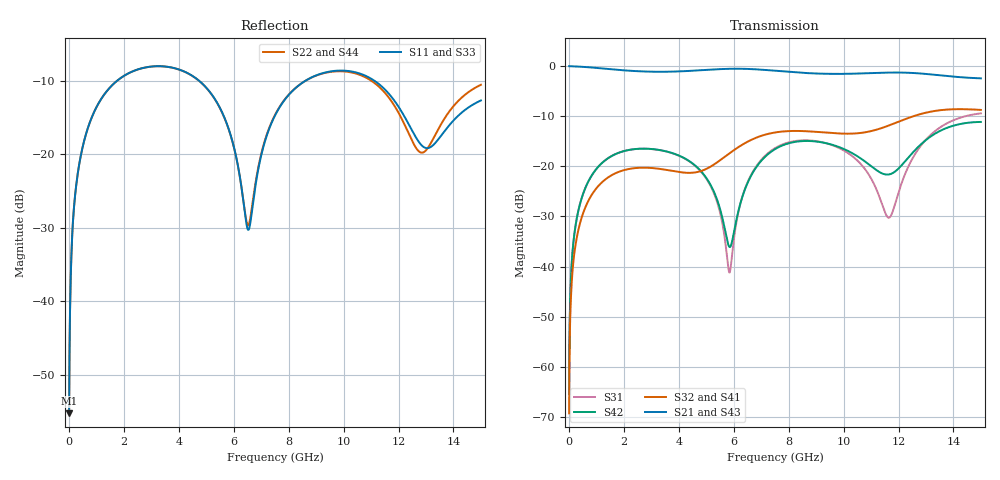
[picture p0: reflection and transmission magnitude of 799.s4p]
! Created with skrf 1.8.0 (http://scikit-rf.org).
# GHz S RI R 50.0
!freq ReS11 ImS11 ReS12 ImS12 ReS13 ImS13
! ReS14 ImS14
! ReS21 ImS21 ReS22 ImS22 ReS23 ImS23
! ReS24 ImS24
! ReS31 ImS31 ReS32 ImS32 ReS33 ImS33
! ReS34 ImS34
! ReS41 ImS41 ReS42 ImS42 ReS43 ImS43
! ReS44 ImS44
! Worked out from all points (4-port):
!   2499 points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, 5 MHz to 15 GHz, reference 50 ohm
!   strongest paths, dB at 5 MHz, 3.476 GHz, 7.19 GHz, 11.1 GHz, 15 GHz:
!     S21: 0.0, -1.1, -0.8, -1.4, -2.4
!     S43: 0.0, -1.1, -0.8, -1.4, -2.5
!     S32: -69.3, -20.6, -13.6, -12.8, -8.7
!     S41: -69.3, -20.7, -13.6, -12.9, -8.9
!     S42: -65.4, -16.9, -17.8, -20.4, -11.1
!     S31: -65.4, -16.9, -17.6, -23.4, -9.4
!   lowest |S11| = -55.2 dB at 5 MHz (marker M1), VSWR 1.00, Z = 50.1 + j0.105 ohm
!   |S11| at or under -10 dB: start of sweep to 1.758 GHz; 4.732 GHz to 8.619 GHz (3.886 GHz wide, 58.2 % of centre); 11.12 GHz to end of sweep
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0.005  0.00138 0.00105  0.9986 -0.00269  6.82e-05 0.000535  -6.63e-05 -0.000337
       0.9986 -0.00269  0.00138 0.00105  -6.63e-05 -0.000337  6.82e-05 0.000535
       6.82e-05 0.000535  -6.63e-05 -0.000337  0.00138 0.00105  0.9986 -0.00269
       -6.63e-05 -0.000337  6.82e-05 0.000535  0.9986 -0.00269  0.00138 0.00105
0.4126719  0.0275 0.0899  0.962 -0.2191  0.0129 0.0413  -0.0107 -0.0256
           0.962 -0.2191  0.0275 0.0899  -0.0107 -0.0256  0.0129 0.0413
           0.0129 0.0413  -0.0107 -0.0256  0.0275 0.0899  0.962 -0.2191
           -0.0107 -0.0256  0.0129 0.0413  0.962 -0.2191  0.0275 0.0899
1.975823  0.2919 0.1711  0.502 -0.7575  0.1311 0.0526  -0.0909 0.00121
          0.502 -0.7575  0.2917 0.1712  -0.0912 0.00152  0.1313 0.0524
          0.1311 0.0526  -0.0912 0.00152  0.2917 0.1712  0.5019 -0.7576
          -0.0909 0.00121  0.1313 0.0524  0.5019 -0.7576  0.2918 0.1711
5.839933  0.0708 -0.1253  -0.8633 -0.3716  -0.00844 -0.00219  -0.0511 0.1244
          -0.8633 -0.3716  0.0722 -0.1236  -0.0478 0.1258  -0.0149 -0.00501
          -0.00844 -0.00219  -0.0478 0.1258  0.0713 -0.1248  -0.8634 -0.3715
          -0.0511 0.1244  -0.0149 -0.00501  -0.8634 -0.3715  0.0714 -0.1237
6.55273  0.0309 0.00236  -0.9355 -0.0354  0.00985 0.0737  -0.00397 0.1788
         -0.9355 -0.0354  0.0332 0.00363  0.000517 0.1789  0.00161 0.0731
         0.00985 0.0737  0.000517 0.1789  0.0313 0.00234  -0.9355 -0.0351
         -0.00397 0.1788  0.00161 0.0731  -0.9355 -0.0351  0.0327 0.00423
10.47311  0.3491 -0.0826  0.1564 0.8274  0.0819 -0.0824  0.1973 -0.076
          0.1564 0.8274  0.3423 -0.0829  0.1953 -0.086  0.074 -0.104
          0.0819 -0.0824  0.1953 -0.086  0.3484 -0.0805  0.1564 0.8274
          0.1973 -0.076  0.074 -0.104  0.1564 0.8274  0.3431 -0.0852
15  0.2288 0.0374  0.5548 -0.5119  0.3289 0.0768  -0.3 -0.1965
    0.5548 -0.5119  0.2905 0.0579  -0.3149 -0.1855  0.2194 0.1696
    0.3289 0.0768  -0.3149 -0.1855  0.2206 0.0428  0.5532 -0.5116
    -0.3 -0.1965  0.2194 0.1696  0.5532 -0.5116  0.303 0.0602
